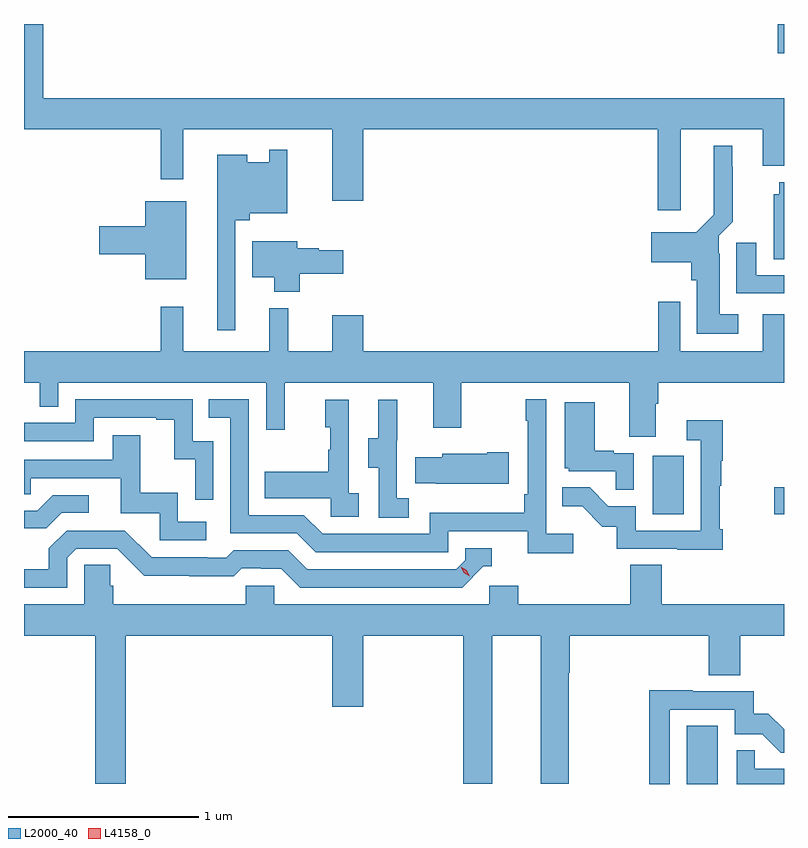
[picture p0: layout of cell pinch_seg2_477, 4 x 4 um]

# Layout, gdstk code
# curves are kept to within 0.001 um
import gdstk
lib = gdstk.Library(unit=1e-6, precision=1e-09)
def R(c, l, rs):  # rectangles x0, y0, x1, y1
    for r in rs: c.add(gdstk.rectangle(r[:2], r[2:], *l))
def P(c, l, *ps):  # polygons
    for p in ps: c.add(gdstk.Polygon(p, *l))
L2000_40 = (2000, 40)
L4158_0 = (4158, 0)

pinch_seg2_477 = lib.new_cell('pinch_seg2_477')
R(pinch_seg2_477, L2000_40, [(946.094,588.247,946.258,588.553), (946.554,589.666,946.606,589.808), (945.914,589.668,946.078,589.975), (946.574,592.092,946.606,592.247)])
P(pinch_seg2_477, L2000_40, [(946.063,591.692),(946.493,591.692),(946.493,591.5),(946.606,591.5),(946.606,591.856),(942.707,591.856),(942.707,592.247),(942.606,592.247),(942.606,591.692),(943.327,591.692),(943.327,591.429),(943.444,591.429),(943.444,591.692),(944.228,591.692),(944.228,591.318),(944.392,591.318),(944.392,591.692),(945.941,591.692),(945.941,591.267),(946.063,591.267)],
  [(946.366,590.719),(946.267,590.719),(946.267,591.038),(946.263,591.038),(946.263,591.132),(946.337,591.206),(946.337,591.497),(946.333,591.497),(946.333,591.607),(946.235,591.607),(946.236,591.244),(946.143,591.151),(945.906,591.151),(945.906,590.993),(946.118,590.993),(946.118,590.898),(946.148,590.898),(946.148,590.618),(946.366,590.618)],
  [(943.719,591.215),(943.793,591.215),(943.793,591.251),(943.992,591.251),(943.992,591.586),(943.896,591.586),(943.896,591.52),(943.78,591.52),(943.78,591.559),(943.622,591.559),(943.622,590.634),(943.719,590.634)],
  [(946.606,591.415),(946.58,591.415),(946.58,591.351),(946.553,591.351),(946.553,591.01),(946.606,591.01)],
  [(943.459,591.313),(943.244,591.313),(943.244,591.182),(943.002,591.182),(943.002,591.035),(943.244,591.035),(943.244,590.903),(943.459,590.903)],
  [(944.057,590.933),(944.287,590.933),(944.287,591.055),(944.157,591.055),(944.157,591.068),(944.044,591.068),(944.044,591.103),(943.808,591.103),(943.808,590.915),(943.922,590.915),(943.922,590.837),(944.057,590.837)],
  [(946.606,590.925),(946.459,590.925),(946.459,591.097),(946.355,591.097),(946.355,590.829),(946.606,590.829)],
  [(945.931,590.248),(945.944,590.248),(945.944,590.36),(946.606,590.36),(946.606,590.719),(946.493,590.719),(946.493,590.524),(946.059,590.524),(946.059,590.785),(945.943,590.785),(945.943,590.524),(944.392,590.524),(944.392,590.713),(944.228,590.713),(944.228,590.524),(943.998,590.524),(943.998,590.752),(943.898,590.752),(943.898,590.524),(943.445,590.524),(943.445,590.758),(943.327,590.758),(943.327,590.524),(942.606,590.524),(942.606,590.36),(942.69,590.36),(942.69,590.233),(942.786,590.233),(942.786,590.36),(943.881,590.36),(943.881,590.112),(943.979,590.112),(943.979,590.36),(944.759,590.36),(944.759,590.121),(944.907,590.121),(944.907,590.36),(945.791,590.36),(945.791,590.074),(945.931,590.074)],
  [(945.496,589.564),(945.354,589.564),(945.354,590.272),(945.246,590.272),(945.246,590.159),(945.258,590.159),(945.258,589.771),(945.238,589.771),(945.238,589.675),(944.742,589.675),(944.742,589.563),(944.178,589.563),(944.079,589.662),(943.788,589.662),(943.788,590.271),(943.579,590.271),(943.579,590.175),(943.692,590.175),(943.692,589.566),(944.042,589.566),(944.141,589.467),(944.838,589.467),(944.838,589.578),(945.257,589.578),(945.257,589.462),(945.496,589.462)],
  [(943.602,590.052),(943.494,590.052),(943.494,590.271),(942.876,590.271),(942.876,590.148),(942.606,590.148),(942.606,590.052),(942.972,590.052),(942.972,590.175),(943.301,590.175),(943.301,590.163),(943.397,590.163),(943.397,589.955),(943.506,589.955),(943.506,589.743),(943.602,589.743)],
  [(944.632,589.751),(944.568,589.751),(944.568,590.055),(944.57,590.055),(944.57,590.269),(944.471,590.269),(944.471,590.067),(944.417,590.067),(944.417,589.912),(944.472,589.912),(944.472,589.648),(944.632,589.648)],
  [(944.368,589.778),(944.316,589.778),(944.316,590.269),(944.192,590.269),(944.192,590.124),(944.218,590.124),(944.218,590.006),(944.208,590.006),(944.208,589.891),(943.873,589.891),(943.873,589.751),(944.22,589.751),(944.22,589.653),(944.368,589.653)],
  [(945.816,589.989),(945.71,589.989),(945.71,590.002),(945.61,590.002),(945.61,590.257),(945.452,590.257),(945.452,589.908),(945.474,589.908),(945.474,589.893),(945.721,589.893),(945.721,589.795),(945.816,589.795)],
  [(946.283,589.588),(946.268,589.588),(946.268,589.818),(946.276,589.818),(946.276,589.948),(946.283,589.948),(946.283,590.161),(946.095,590.161),(946.095,590.055),(946.167,590.055),(946.167,589.581),(945.825,589.581),(945.825,589.71),(945.681,589.71),(945.583,589.808),(945.439,589.808),(945.439,589.709),(945.543,589.709),(945.65,589.602),(945.727,589.602),(945.727,589.485),(946.045,589.485),(946.045,589.48),(946.283,589.48)],
  [(943.564,589.626),(943.416,589.626),(943.416,589.78),(943.217,589.78),(943.217,590.083),(943.073,590.083),(943.073,589.953),(942.606,589.953),(942.606,589.773),(942.641,589.773),(942.641,589.857),(943.115,589.857),(943.115,589.671),(943.32,589.671),(943.32,589.53),(943.564,589.53)],
  [(945.157,589.992),(945.044,589.992),(945.044,589.984),(944.808,589.984),(944.808,589.966),(944.665,589.966),(944.665,589.829),(944.773,589.829),(944.773,589.826),(945.157,589.826)],
  [(942.804,589.674),(942.946,589.674),(942.946,589.767),(942.758,589.767),(942.677,589.686),(942.606,589.686),(942.606,589.594),(942.724,589.594)],
  [(942.834,589.437),(942.882,589.485),(943.098,589.485),(943.24,589.343),(943.476,589.343),(943.476,589.341),(943.709,589.341),(943.751,589.383),(943.854,589.383),(943.854,589.38),(943.961,589.38),(944.06,589.281),(944.913,589.281),(945.024,589.392),(945.067,589.392),(945.067,589.488),(944.928,589.488),(944.928,589.425),(944.88,589.377),(944.097,589.377),(943.998,589.476),(943.709,589.476),(943.67,589.437),(943.571,589.437),(943.571,589.44),(943.278,589.44),(943.137,589.581),(942.831,589.581),(942.737,589.487),(942.737,589.377),(942.606,589.377),(942.606,589.281),(942.834,589.281)],
  [(944.228,588.654),(944.392,588.654),(944.392,589.028),(944.918,589.028),(944.918,588.249),(945.07,588.249),(945.07,589.028),(945.326,589.028),(945.326,588.249),(945.474,588.249),(945.474,588.832),(945.479,588.832),(945.479,589.028),(946.211,589.028),(946.211,588.82),(946.376,588.82),(946.376,589.028),(946.606,589.028),(946.606,589.192),(945.962,589.192),(945.962,589.4),(945.797,589.4),(945.797,589.192),(945.206,589.192),(945.206,589.29),(945.054,589.29),(945.054,589.192),(943.923,589.192),(943.923,589.29),(943.773,589.29),(943.773,589.192),(943.076,589.192),(943.076,589.29),(943.061,589.29),(943.061,589.4),(942.924,589.4),(942.924,589.192),(942.606,589.192),(942.606,589.028),(942.982,589.028),(942.982,588.249),(943.142,588.249),(943.142,589.028),(944.228,589.028)],
  [(946.005,588.639),(946.347,588.639),(946.347,588.51),(946.491,588.51),(946.589,588.412),(946.606,588.412),(946.606,588.534),(946.522,588.618),(946.446,588.618),(946.446,588.735),(946.127,588.735),(946.127,588.74),(945.897,588.74),(945.897,588.247),(946.005,588.247)],
  [(946.606,588.327),(946.451,588.327),(946.451,588.425),(946.356,588.425),(946.356,588.247),(946.606,588.247)])
P(pinch_seg2_477, L4158_0, [(944.952,589.34),(944.921,589.358),(944.904,589.39),(944.904,589.391),(944.904,589.391),(944.935,589.372),(944.952,589.34),(944.952,589.34)])

lib.write_gds('pinch_seg2_477.gds')
